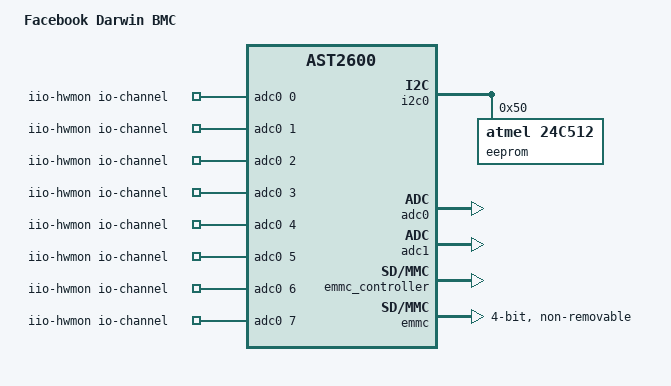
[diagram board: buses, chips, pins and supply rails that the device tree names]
// SPDX-License-Identifier: GPL-2.0+
// Copyright (c) 2021 Facebook Inc.

/dts-v1/;

#include "ast2600-facebook-netbmc-common.dtsi"

/ {
	model = "Facebook Darwin BMC";
	compatible = "facebook,darwin-bmc", "aspeed,ast2600";

	aliases {
		serial0 = &uart5;
		serial1 = &uart1;
		serial2 = &uart2;
		serial3 = &uart3;
	};

	chosen {
		stdout-path = &uart5;
	};

	iio-hwmon {
		compatible = "iio-hwmon";
		io-channels = <&adc0 0>, <&adc0 1>, <&adc0 2>, <&adc0 3>,
			      <&adc0 4>, <&adc0 5>, <&adc0 6>, <&adc0 7>,
			      <&adc1 0>, <&adc1 1>, <&adc1 2>, <&adc1 3>,
			      <&adc1 4>, <&adc1 5>, <&adc1 6>, <&adc1 7>;
	};

	spi_gpio: spi {
		num-chipselects = <1>;
		cs-gpios = <&gpio0 ASPEED_GPIO(X, 0) GPIO_ACTIVE_LOW>;
	};
};

&i2c0 {
	eeprom@50 {
		compatible = "atmel,24c512";
		reg = <0x50>;
	};
};

&adc0 {
	status = "okay";

	pinctrl-0 = <&pinctrl_adc0_default &pinctrl_adc1_default
		     &pinctrl_adc2_default &pinctrl_adc3_default
		     &pinctrl_adc4_default &pinctrl_adc5_default
		     &pinctrl_adc6_default &pinctrl_adc7_default>;
};

&adc1 {
	status = "okay";

	pinctrl-0 = <&pinctrl_adc8_default &pinctrl_adc9_default
		     &pinctrl_adc10_default &pinctrl_adc11_default
		     &pinctrl_adc12_default &pinctrl_adc13_default
		     &pinctrl_adc14_default &pinctrl_adc15_default>;
};

&emmc_controller {
	status = "okay";
};

&emmc {
	status = "okay";

	non-removable;
	max-frequency = <25000000>;
	bus-width = <4>;
};
